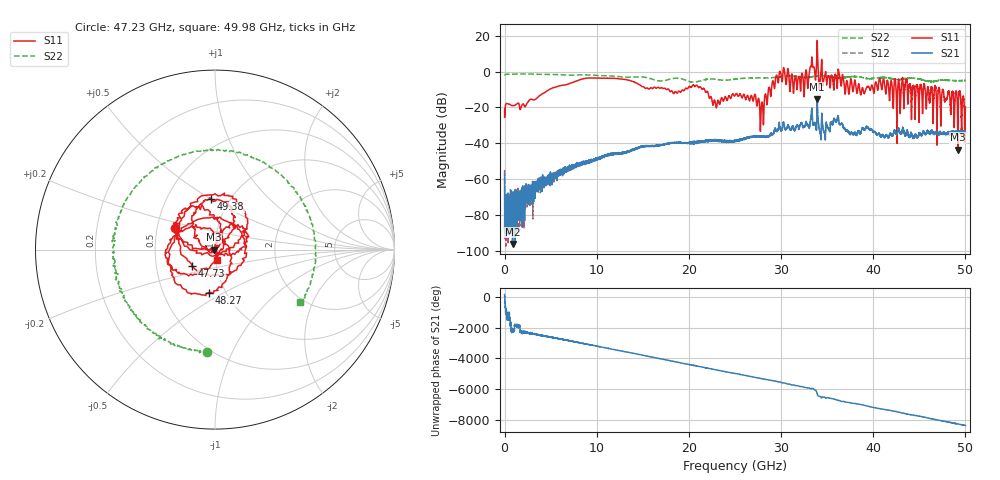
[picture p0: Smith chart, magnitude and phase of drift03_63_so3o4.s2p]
!Created with skrf (http://scikit-rf.org).
# Hz S RI R 50.0
!freq ReS11 ImS11 ReS21 ImS21 ReS12 ImS12 ReS22 ImS22
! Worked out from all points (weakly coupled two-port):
!   10001 points, 300 kHz to 50 GHz, reference 50 ohm
!   highest |S21| = -15.45 dB at 33.93 GHz (marker M1); lowest = -96.3 dB at 860.3 MHz (marker M2)
!   lowest |S11| = -43.6 dB at 49.18 GHz (marker M3), VSWR 1.01, Z = 49.3 - j0.0497 ohm
!   |S11| at or under -10 dB: start of sweep to 4.849 GHz; 21.69 GHz to 28.62 GHz (6.932 GHz wide, 27.6 % of centre); 47.54 GHz to end of sweep (the widest 3 of 45)
!   |S22| runs from -5.9 to -1.3 dB; largest |S21 - S12| = 0.017
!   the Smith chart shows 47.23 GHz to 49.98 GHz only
!   S11 on the Smith chart (normalised r, x): 47.23 GHz: 0.62, +0.16; 47.73 GHz: 0.76, -0.14; 48.27 GHz: 0.83, -0.43; 49.38 GHz: 0.82, +0.50; 49.98 GHz: 1.02, -0.12
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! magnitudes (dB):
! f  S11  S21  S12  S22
! 300 kHz  -21.0  -57.4  -55.0  -2.1
! 255.3 MHz  -17.9  -81.5  -75.5  -1.4
! 860.3 MHz  -19.1  -96.3  -79.7  -1.5
! 8.335 GHz  -4.3  -51.6  -50.7  -1.9
! 16.67 GHz  -8.8  -41.4  -41.4  -5.2
! 21.01 GHz  -8.7  -39.0  -39.4  -5.5
! 22.81 GHz  -16.1  -38.3  -38.2  -4.2
! 25 GHz  -13.4  -38.9  -38.8  -4.3
! 27.91 GHz  -17.2  -36.4  -36.3  -3.5
! 29.69 GHz  -6.4  -32.1  -31.8  -3.1
! 32.32 GHz  -1.5  -30.5  -30.6  -3.2
! 33.34 GHz  7.9  -20.4  -21.0  -2.9
! 33.93 GHz  17.4  -15.4  -15.6  -2.5
! 38.82 GHz  -9.1  -31.4  -31.7  -3.4
! 41.67 GHz  -9.0  -36.5  -36.7  -3.7
! 47.23 GHz  -11.8  -34.5  -34.1  -4.8
! 47.73 GHz  -16.0  -34.1  -34.0  -4.8
! 48.27 GHz  -12.2  -34.4  -34.0  -5.0
! 49.18 GHz  -43.6  -34.1  -33.4  -5.1
! 49.38 GHz  -11.0  -33.6  -34.1  -5.2
! 49.98 GHz  -24.6  -33.9  -33.8  -5.1
! 50 GHz  -19.8  -34.1  -34.3  -5.0
